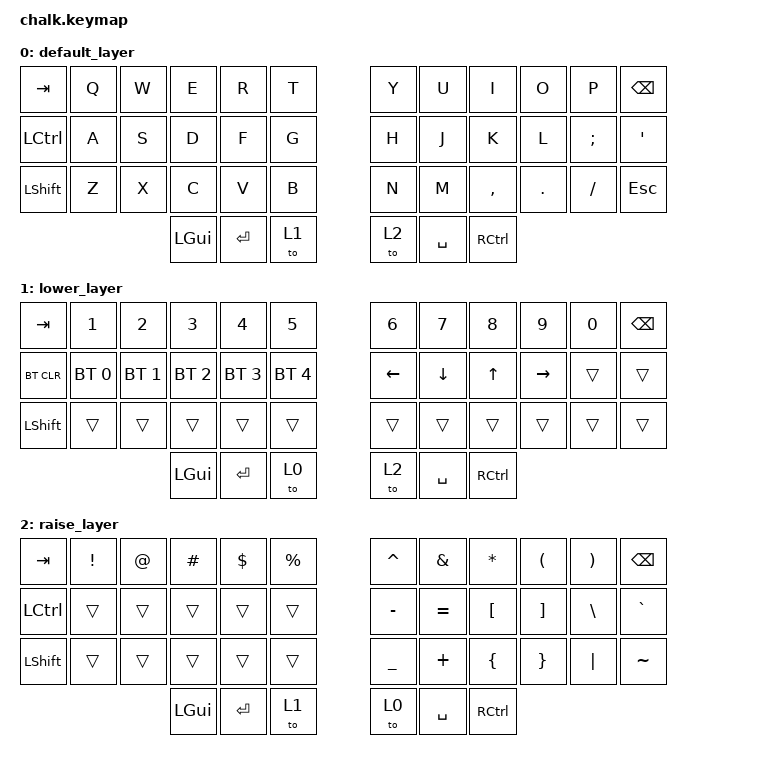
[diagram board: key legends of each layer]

/*
 * Copyright (c) 2020 The ZMK Contributors
 *
 * SPDX-License-Identifier: MIT
 */

#include <behaviors.dtsi>
#include <dt-bindings/zmk/keys.h>
#include <dt-bindings/zmk/bt.h>

/ {
    keymap {
        compatible = "zmk,keymap";

        default_layer {
            // -----------------------------------------------------------------------------------------
            // | TAB |  Q  |  W  |  E  |  R  |  T  |   |  Y  |  U  |  I  |  O  |  P  | BSPC |
            // |CTRL |  A  |  S  |  D  |  F  |  G  |   |  H  |  J  |  K  |  L  |  ;  |  '   |
            // |SHFT |  Z  |  X  |  C  |  V  |  B  |   |  N  |  M  |  ,  |  .  |  /  | ESC  |
            //                    | GUI | ENT | LWR |   | RSE | SPC | CTRL |
            //                  (Switch to Lower) (Switch to Raise)

            bindings = <
                &kp TAB   &kp Q &kp W &kp E &kp R &kp T   &kp Y &kp U  &kp I     &kp O   &kp P    &kp BSPC
                &kp LCTRL &kp A &kp S &kp D &kp F &kp G   &kp H &kp J  &kp K     &kp L   &kp SEMI &kp SQT
                &kp LSHFT &kp Z &kp X &kp C &kp V &kp B   &kp N &kp M  &kp COMMA &kp DOT &kp FSLH &kp ESC
                                      &kp LGUI &kp RET &to 1   &to 2 &kp SPACE &kp RCTRL
            >;
        };

        lower_layer {
            // -----------------------------------------------------------------------------------------
            // | TAB |  1  |  2  |  3  |  4  |  5  |   |  6  |  7  |  8  |  9  |  0  | BSPC |
            // |BTCLR| BT1 | BT2 | BT3 | BT4 | BT5 |   | LFT | DWN |  UP | RGT |     |      |
            // |SHFT |     |     |     |     |     |   |     |     |     |     |     |      |
            //                    | GUI | ENT | BASE|   | RSE | SPC | CTRL |
            //                  (Switch to Base)  (Switch to Raise)
            //
            // BTCLR = Clear Bluetooth bonds
            // BT1-BT5 = Select Bluetooth profile 0-4

            bindings = <
                &kp TAB    &kp N1       &kp N2       &kp N3       &kp N4       &kp N5         &kp N6   &kp N7   &kp N8 &kp N9    &kp N0 &kp BSPC
                &bt BT_CLR &bt BT_SEL 0 &bt BT_SEL 1 &bt BT_SEL 2 &bt BT_SEL 3 &bt BT_SEL 4   &kp LEFT &kp DOWN &kp UP &kp RIGHT &trans &trans
                &kp LSHFT  &trans       &trans       &trans       &trans       &trans         &trans   &trans   &trans &trans    &trans &trans
                                               &kp LGUI &kp RET &to 0   &to 2 &kp SPACE &kp RCTRL
            >;
        };

        raise_layer {
            // -----------------------------------------------------------------------------------------
            // | TAB |  !  |  @  |  #  |  $  |  %  |   |  ^  |  &  |  *  |  (  |  )  | BSPC |
            // |CTRL |     |     |     |     |     |   |  -  |  =  |  [  |  ]  |  \  |  `   |
            // |SHFT |     |     |     |     |     |   |  _  |  +  |  {  |  }  |  |  |  ~   |
            //                    | GUI | ENT | LWR |   | BASE| SPC | CTRL |
            //                  (Switch to Lower) (Switch to Base)

            bindings = <
                &kp TAB   &kp EXCL &kp AT &kp HASH &kp DLLR &kp PRCNT   &kp CARET &kp AMPS  &kp ASTRK &kp LPAR &kp RPAR &kp BSPC
                &kp LCTRL &trans   &trans &trans   &trans   &trans      &kp MINUS &kp EQUAL &kp LBKT  &kp RBKT &kp BSLH &kp GRAVE
                &kp LSHFT &trans   &trans &trans   &trans   &trans      &kp UNDER &kp PLUS  &kp LBRC  &kp RBRC &kp PIPE &kp TILDE
                                        &kp LGUI &kp RET &to 1   &to 0   &kp SPACE &kp RCTRL
            >;
        };
    };
};
